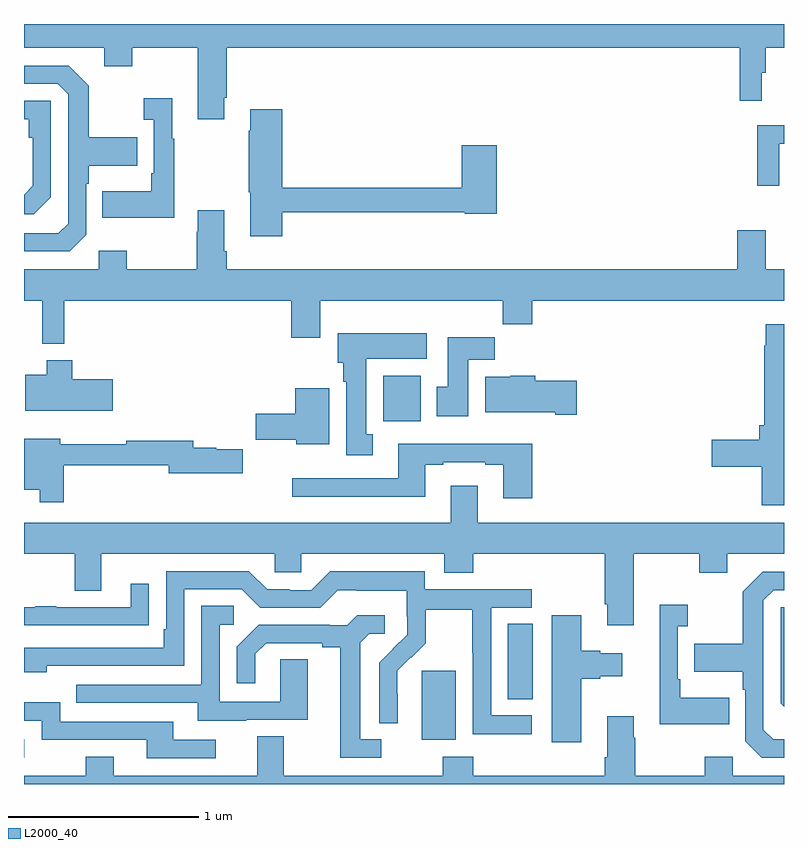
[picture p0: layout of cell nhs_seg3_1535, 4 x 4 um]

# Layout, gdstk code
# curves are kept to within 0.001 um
import gdstk
lib = gdstk.Library(unit=1e-6, precision=1e-09)
def R(c, l, rs):  # rectangles x0, y0, x1, y1
    for r in rs: c.add(gdstk.rectangle(r[:2], r[2:], *l))
def P(c, l, *ps):  # polygons
    for p in ps: c.add(gdstk.Polygon(p, *l))
L2000_40 = (2000, 40)

nhs_seg3_1535 = lib.new_cell('nhs_seg3_1535')
R(nhs_seg3_1535, L2000_40, [(191,670.539,191.002,670.635), (193.094,670.634,193.273,670.995), (193.547,670.846,193.678,671.243), (192.89,672.308,193.087,672.55)])
P(nhs_seg3_1535, L2000_40, [(191,674.276),(191.423,674.276),(191.423,674.177),(191.571,674.177),(191.571,674.276),(191.915,674.276),(191.915,673.899),(192.055,673.899),(192.055,674.011),(192.068,674.011),(192.068,674.276),(194.767,674.276),(194.767,673.995),(194.884,673.995),(194.884,674.144),(194.903,674.144),(194.903,674.276),(195,674.276),(195,674.4),(191,674.4)],
  [(191.328,673.29),(191.328,673.559),(191.341,673.559),(191.341,673.655),(191.597,673.655),(191.597,673.803),(191.341,673.803),(191.341,674.075),(191.235,674.181),(191,674.181),(191,674.085),(191.178,674.085),(191.232,674.031),(191.232,673.35),(191.181,673.299),(191,673.299),(191,673.203),(191.241,673.203)],
  [(191.791,673.795),(191.779,673.795),(191.779,674.008),(191.631,674.008),(191.631,673.895),(191.682,673.895),(191.682,673.615),(191.67,673.615),(191.67,673.519),(191.413,673.519),(191.413,673.379),(191.791,673.379)],
  [(191.142,673.488),(191.142,673.995),(191,673.995),(191,673.899),(191.026,673.899),(191.026,673.802),(191.046,673.802),(191.046,673.548),(191,673.502),(191,673.398),(191.052,673.398)],
  [(192.359,673.41),(193.32,673.41),(193.32,673.402),(193.487,673.402),(193.487,673.762),(193.304,673.762),(193.304,673.538),(192.359,673.538),(192.359,673.951),(192.191,673.951),(192.191,673.838),(192.184,673.838),(192.184,673.515),(192.191,673.515),(192.191,673.284),(192.359,673.284)],
  [(194.976,673.77),(195,673.77),(195,673.866),(194.86,673.866),(194.86,673.548),(194.976,673.548)],
  [(191.213,672.944),(192.407,672.944),(192.407,672.75),(192.559,672.75),(192.559,672.944),(193.519,672.944),(193.519,672.82),(193.676,672.82),(193.676,672.944),(195,672.944),(195,673.108),(194.905,673.108),(194.905,673.315),(194.753,673.315),(194.753,673.108),(192.068,673.108),(192.068,673.204),(192.055,673.204),(192.055,673.42),(191.915,673.42),(191.915,673.307),(191.908,673.307),(191.908,673.108),(191.541,673.108),(191.541,673.207),(191.394,673.207),(191.394,673.108),(191,673.108),(191,672.944),(191.096,672.944),(191.096,672.716),(191.213,672.716)],
  [(195,672.82),(194.904,672.82),(194.904,672.707),(194.896,672.707),(194.896,672.289),(194.87,672.289),(194.87,672.212),(194.619,672.212),(194.619,672.07),(194.882,672.07),(194.882,671.867),(195,671.867)],
  [(192.835,672.242),(192.802,672.242),(192.802,672.638),(193.12,672.638),(193.12,672.772),(192.65,672.772),(192.65,672.618),(192.68,672.618),(192.68,672.518),(192.695,672.518),(192.695,672.129),(192.835,672.129)],
  [(193.339,672.632),(193.478,672.632),(193.478,672.751),(193.229,672.751),(193.229,672.492),(193.172,672.492),(193.172,672.336),(193.339,672.336)],
  [(191.467,672.531),(191.255,672.531),(191.255,672.631),(191.12,672.631),(191.12,672.553),(191.006,672.553),(191.006,672.365),(191.467,672.365)],
  [(193.909,672.522),(193.691,672.522),(193.691,672.55),(193.56,672.55),(193.56,672.544),(193.427,672.544),(193.427,672.356),(193.796,672.356),(193.796,672.344),(193.909,672.344)],
  [(192.607,672.484),(192.428,672.484),(192.428,672.35),(192.219,672.35),(192.219,672.213),(192.432,672.213),(192.432,672.188),(192.607,672.188)],
  [(191.21,672.078),(191.762,672.078),(191.762,672.035),(192.151,672.035),(192.151,672.162),(192.012,672.162),(192.012,672.17),(191.89,672.17),(191.89,672.206),(191.537,672.206),(191.537,672.187),(191.191,672.187),(191.191,672.217),(191,672.217),(191,671.948),(191.082,671.948),(191.082,671.883),(191.21,671.883)],
  [(193.676,672.19),(192.971,672.19),(192.971,672.009),(192.411,672.009),(192.411,671.912),(193.111,671.912),(193.111,672.081),(193.207,672.081),(193.207,672.093),(193.427,672.093),(193.427,672.081),(193.523,672.081),(193.523,671.904),(193.676,671.904)],
  [(194.209,671.612),(194.554,671.612),(194.554,671.513),(194.701,671.513),(194.701,671.612),(195,671.612),(195,671.776),(193.387,671.776),(193.387,671.971),(193.247,671.971),(193.247,671.776),(191,671.776),(191,671.612),(191.267,671.612),(191.267,671.418),(191.407,671.418),(191.407,671.612),(192.321,671.612),(192.321,671.514),(192.459,671.514),(192.459,671.612),(193.211,671.612),(193.211,671.513),(193.364,671.513),(193.364,671.612),(194.057,671.612),(194.057,671.347),(194.069,671.347),(194.069,671.235),(194.209,671.235)],
  [(193.672,670.761),(193.458,670.761),(193.458,671.328),(193.672,671.328),(193.672,671.424),(193.11,671.424),(193.11,671.521),(192.613,671.521),(192.513,671.421),(192.398,671.421),(192.398,671.424),(192.279,671.424),(192.183,671.52),(191.748,671.52),(191.748,671.215),(191.735,671.215),(191.735,671.118),(191,671.118),(191,670.988),(191.12,670.988),(191.12,671.022),(191.844,671.022),(191.844,671.424),(192.147,671.424),(192.243,671.328),(192.558,671.328),(192.651,671.421),(192.751,671.421),(192.751,671.417),(193.014,671.417),(193.014,671.283),(193.016,671.283),(193.016,671.186),(192.87,671.038),(192.87,670.72),(192.966,670.72),(192.965,670.997),(193.035,671.067),(193.038,671.064),(193.115,671.141),(193.115,671.316),(193.36,671.316),(193.36,671.092),(193.362,671.092),(193.362,670.663),(193.672,670.663)],
  [(195,670.635),(194.943,670.635),(194.892,670.686),(194.892,671.367),(194.946,671.421),(195,671.421),(195,671.517),(194.889,671.517),(194.784,671.411),(194.784,671.139),(194.527,671.139),(194.527,670.991),(194.784,670.991),(194.784,670.895),(194.796,670.895),(194.796,670.626),(194.883,670.539),(195,670.539)],
  [(191.555,671.236),(191.657,671.236),(191.657,671.455),(191.561,671.455),(191.561,671.331),(191.171,671.331),(191.171,671.336),(191.059,671.336),(191.059,671.331),(191,671.331),(191,671.235),(191.555,671.235)],
  [(194.711,670.855),(194.455,670.855),(194.455,670.951),(194.442,670.951),(194.442,671.231),(194.494,671.231),(194.494,671.344),(194.345,671.344),(194.345,670.715),(194.711,670.715)],
  [(192.169,670.737),(192.493,670.737),(192.493,671.057),(192.348,671.057),(192.348,670.833),(192.03,670.833),(192.03,671.238),(192.103,671.238),(192.103,671.339),(191.934,671.339),(191.934,670.923),(191.275,670.923),(191.275,670.827),(191.915,670.827),(191.915,670.733),(192.169,670.733)],
  [(195,671.331),(194.982,671.331),(194.982,670.824),(195,670.806)],
  [(193.933,670.955),(194.033,670.955),(194.033,670.967),(194.149,670.967),(194.149,671.089),(194.033,671.089),(194.033,671.102),(193.933,671.102),(193.933,671.287),(193.778,671.287),(193.778,670.62),(193.933,670.62)],
  [(192.88,670.635),(192.769,670.635),(192.769,671.143),(192.816,671.19),(192.898,671.19),(192.898,671.287),(192.754,671.287),(192.702,671.235),(192.608,671.235),(192.608,671.238),(192.236,671.238),(192.12,671.122),(192.12,670.929),(192.217,670.929),(192.217,671.085),(192.274,671.142),(192.569,671.142),(192.569,671.12),(192.665,671.12),(192.665,670.539),(192.88,670.539)],
  [(192.01,670.632),(191.785,670.632),(191.785,670.728),(191.19,670.728),(191.19,670.831),(191,670.831),(191,670.734),(191.094,670.734),(191.094,670.632),(191.645,670.632),(191.645,670.536),(192.01,670.536)],
  [(195,670.444),(194.73,670.444),(194.73,670.543),(194.584,670.543),(194.584,670.444),(194.217,670.444),(194.217,670.643),(194.209,670.643),(194.209,670.756),(194.069,670.756),(194.069,670.54),(194.057,670.54),(194.057,670.444),(193.364,670.444),(193.364,670.543),(193.204,670.543),(193.204,670.444),(192.367,670.444),(192.367,670.652),(192.227,670.652),(192.227,670.444),(191.473,670.444),(191.473,670.543),(191.326,670.543),(191.326,670.444),(191,670.444),(191,670.4),(195,670.4)])

lib.write_gds('nhs_seg3_1535.gds')
